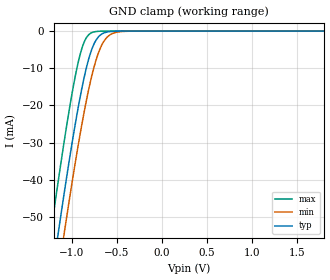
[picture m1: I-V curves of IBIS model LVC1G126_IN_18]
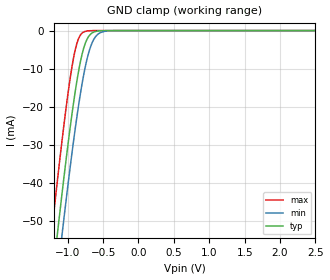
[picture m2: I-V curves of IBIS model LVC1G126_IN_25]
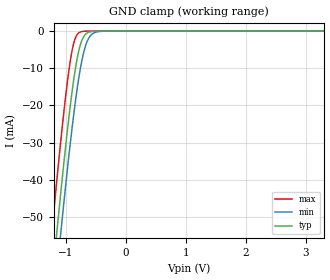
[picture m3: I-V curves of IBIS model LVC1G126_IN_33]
| TEXAS INSTRUMENTS INCORPORATED
| Standard Linear and Logic Group
| IBIS Model of SN74LVC1G126
| SINGLE BUS BUFFER GATE WITH 3-STATE OUTPUT
| This file contains package information for the following:
|  SOT 5-pin (DBV) package as [Component] LVC1G126_DBV
|  SOT 5-pin (DCK) package as [Component] LVC1G126_DCK
|  DSBGA 5-pin (YEA_YZA) package as [Component] LVC1G126_YEA_YZA
|  NanoStar WCSP 5-pin (YEP) package as [Component] LVC1G126_YEP
|  NanoFree WCSP 5-pin (YZP) package as [Component] LVC1G126_YZP
| This device can be powered at the following Vccs:
|  1.8 volt Vcc
|  2.5 volt Vcc
|  3.3 volt Vcc
|  5 volt Vcc
| This file provides unique models under the [Model Selector] for each Vcc.
| For operation at a specific Vcc, select the appropriate model after each
| [Model Selector] keyword.
[IBIS Ver]   3.2
[Comment char]  |_char
[File Name]   sn74lvc1g126.ibs
[File Rev]   1.1 | d_die
[Date]   March 10, 2004
[Source]   Data created from TI-SPICE simulations at TI-SLL.
[Notes]   The following is an IBIS list for the LVC1G126.
   Please contact sllibis@ti.com with questions and
   comments concerning SLL IBIS models.
   - FILE REV HISTORY
   - 1.1 Release IBIS file on 03/11/04
   -Non-monotonic data in pullup, pulldown due to
   over-voltage-tolerant circuit.
   -Power clamp data deleted as there is no power-clamp diode.
[Disclaimer] Property of Texas Instruments Incorporated.  Unauthorized
                reproduction and/or distribution is strictly prohibited.
                This product is protected under copyright law.
                Created  2004, (C) Copyright  2004, Texas Instruments
                Incorporated, All Rights Reserved
                UNLESS THERE IS A SIGNED, WRITTEN AGREEMENT TO THE
                CONTRARY, TEXAS INSTRUMENTS (TI) IS PROVIDING THE IBIS
                MODELS  AND WITHOUT ANY WARRANTY, EXPRESSED OR
                IMPLIED.  TI assumes no liability for:
                 1) the accuracy of the IBIS models provided to your
                    company;
                 2) the proper functioning of these IBIS Models in your
                    design or for any resulting applications; or
                 3) infringement of patents, copyrights or intellectual
                    property rights resulting from your use of these IBIS
                    models.
                TI provides IBIS Models as a service to our customers.
                You and your company shall not distribute, sell or give
                these models to anyone else without prior written
                permission from TI.
                TI reserves the right to make changes to our products or
                to discontinue any semiconductor product or service
                without notice, and advises our customers to obtain the
                latest version of relevant information to verify, before
                placing orders, that the information being relied on is
                current.
                Please be aware that your receipt and use of the IBIS
                information provided shall serve as acceptance of these
                terms and conditions.  If you do not accept these terms,
                you should return or destroy the IBIS models and any
                other accompanying information immediately.
| Component LVC1G126_DBV 5-pin SOT
[Component]   LVC1G126_DBV
[Manufacturer]   Texas Instruments, Inc.
[Package]
|   typ   min   max
R_pkg   2.500e-02   2.100e-02   2.900e-02
L_pkg   1.529e-09   1.312e-09   1.906e-09
C_pkg   1.560e-13   1.100e-13   2.400e-13
[Pin]   signal_name   model_name   R_pin   L_pin   C_pin
1   OE   LVC1G126_OE   2.100e-02   1.511e-09   1.440e-13
2   A   LVC1G126_IN   2.300e-02   1.312e-09   1.380e-13
3   GND   GND   2.900e-02   1.906e-09   2.400e-13
4   Y   LVC1G126_OUT   2.600e-02   1.541e-09   1.500e-13
5   VCC   POWER   2.500e-02   1.374e-09   1.100e-13
| Component LVC1G126_DCK 5-pin SOT
[Component]   LVC1G126_DCK
[Manufacturer]   Texas Instruments, Inc.
[Package]
|   typ   min   max
R_pkg   2.000e-02   1.700e-02   2.500e-02
L_pkg   9.980e-10   8.810e-10   1.069e-09
C_pkg   1.460e-13   1.180e-13   2.050e-13
[Pin]   signal_name   model_name   R_pin   L_pin   C_pin
1   OE   LVC1G126_OE   1.900e-02   1.069e-09   1.620e-13
2   A   LVC1G126_IN   1.800e-02   8.810e-10   1.210e-13
3   GND   GND   1.700e-02   1.031e-09   2.050e-13
4   Y   LVC1G126_OUT   2.000e-02   9.600e-10   1.240e-13
5   VCC   POWER   2.500e-02   1.049e-09   1.180e-13
| Component LVC1G126_YEA_YZA 5-pin DSBGA
[Component]   LVC1G126_YEA_YZA
[Manufacturer]   Texas Instruments, Inc.
[Package]
|   typ   min   max
R_pkg   1.000e-03   1.000e-03   1.000e-03
L_pkg   2.100e-11   2.100e-11   2.100e-11
C_pkg   4.600e-14   4.500e-14   4.700e-14
[Pin]   signal_name   model_name   R_pin   L_pin   C_pin
1   OE   LVC1G126_OE   1.000e-03   2.100e-11   4.600e-14
2   A   LVC1G126_IN   1.000e-03   2.100e-11   4.700e-14
3   GND   GND   1.000e-03   2.100e-11   4.600e-14
4   Y   LVC1G126_OUT   1.000e-03   2.100e-11   4.500e-14
5   VCC   POWER   1.000e-03   2.100e-11   4.500e-14
| Component LVC1G126_YEP 5-pin NanoStar WCSP
[Component]   LVC1G126_YEP
[Manufacturer]   Texas Instruments, Inc.
[Package]
|   typ   min   max
R_pkg   0.001   0.001   0.001
L_pkg   0.021nH   0.021nH   0.021nH
C_pkg   0.046pF   0.045pF   0.047pF
[Pin]   signal_name   model_name   R_pin   L_pin   C_pin
1   OE   LVC1G126_OE   0.001   0.021nH   0.046pF
2   A   LVC1G126_IN   0.001   0.021nH   0.047pF
3   GND   GND   0.001   0.021nH   0.046pF
4   Y   LVC1G126_OUT   0.001   0.021nH   0.045pF
5   VCC   POWER   0.001   0.021nH   0.045pF
| Component LVC1G126_YZP 5-pin NanoStar WCSP
[Component]   LVC1G126_YZP
[Manufacturer]   Texas Instruments, Inc.
[Package]
|   typ   min   max
R_pkg   0.001   0.001   0.001
L_pkg   0.021nH   0.021nH   0.021nH
C_pkg   0.046pF   0.045pF   0.047pF
[Pin]   signal_name   model_name   R_pin   L_pin   C_pin
1   OE   LVC1G126_OE   0.001   0.021nH   0.046pF
2   A   LVC1G126_IN   0.001   0.021nH   0.047pF
3   GND   GND   0.001   0.021nH   0.046pF
4   Y   LVC1G126_OUT   0.001   0.021nH   0.045pF
5   VCC   POWER   0.001   0.021nH   0.045pF
| Model LVC1G126_IN
[Model Selector]   LVC1G126_IN
LVC1G126_IN_18   1.8 volt Vcc
LVC1G126_IN_25   2.5 volt Vcc
LVC1G126_IN_33   3.3 volt Vcc
LVC1G126_IN_50   5 volt Vcc
| Model LVC1G126_OE
[Model Selector]   LVC1G126_OE
LVC1G126_OE_18   1.8 volt Vcc
LVC1G126_OE_25   2.5 volt Vcc
LVC1G126_OE_33   3.3 volt Vcc
LVC1G126_OE_50   5 volt Vcc
| Model LVC1G126_OUT
[Model Selector]   LVC1G126_OUT
LVC1G126_OUT_18   1.8 volt Vcc
LVC1G126_OUT_25   2.5 volt Vcc
LVC1G126_OUT_33   3.3 volt Vcc
LVC1G126_OUT_50   5 volt Vcc
| Models and submodels in the file (12): LVC1G126_IN_18 (Input), LVC1G126_IN_25 (Input), LVC1G126_IN_33 (Input), LVC1G126_IN_50 (Input), LVC1G126_OE_18 (Input), LVC1G126_OE_25 (Input), LVC1G126_OE_33 (Input), LVC1G126_OE_50 (Input), LVC1G126_OUT_18 (3-state), LVC1G126_OUT_25 (3-state), LVC1G126_OUT_33 (3-state), LVC1G126_OUT_50 (3-state)
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[Model]   LVC1G126_IN_18
Model_type  Input
Vinl=0.5775
Vinh=1.2675
| variable   typ   min   max
C_comp   1.11pF   0.92pF   1.31pF
[Temperature Range]   40   100   -40
| Ambient temperature   25   85   -40
[Voltage range]   1.8   1.65   1.95
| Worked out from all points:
|   GND clamp passes 1 mA (typ) near -0.68 V on its own axis
[GND Clamp]
| LVC1G126_IN_18
|   Voltage   I(typ)   I(min)   I(max)
-5.5V     -872.3mA   -880mA     -863mA
-1.235V   -68.47mA   -79.32mA   -54.53mA
-1.155V   -55.02mA   -65.9mA    -41.02mA
-1.09V    -44.44mA   -55.28mA   -30.51mA
-1.07V    -41.27mA   -52.08mA   -27.39mA
-955mV    -24.08mA   -34.45mA   -11.33mA
-865mV    -12.71mA   -22.05mA   -3.093mA
-745mV    -3.048mA   -8.978mA   -175.9uA
-670mV    -836.3uA   -3.901mA   -23.18uA
-590mV    -176.2uA   -1.257mA   -2.616uA
-340mV    -1.112uA   -19.62uA   -2.839nA
1.8V      1.111nA    59.61nA    3.29pA
[Model]   LVC1G126_IN_25
Model_type  Input
Vinl=0.7
Vinh=1.7
| variable   typ   min   max
C_comp   1.13pF   0.91pF   1.41pF
[Temperature Range]   40   100   -40
| Ambient temperature   25   85   -40
[Voltage range]   2.5   2.3   2.7
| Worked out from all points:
|   GND clamp passes 1 mA (typ) near -0.68 V on its own axis
[GND Clamp]
| LVC1G126_IN_25
|   Voltage   I(typ)   I(min)   I(max)
-5.5V     -872.3mA   -880mA     -863mA
-1.23V    -67.62mA   -78.47mA   -53.67mA
-1.155V   -55.02mA   -65.9mA    -41.02mA
-1.13V    -50.91mA   -61.78mA   -36.92mA
-1.085V   -43.65mA   -54.48mA   -29.72mA
-1.065V   -40.48mA   -51.28mA   -26.62mA
-950mV    -23.39mA   -33.72mA   -10.74mA
-860mV    -12.16mA   -21.41mA   -2.808mA
-785mV    -5.383mA   -12.75mA   -501uA
-715mV    -1.873mA   -6.62mA    -78.61uA
-575mV    -130.5uA   -995.5uA   -1.737uA
2.5V      1.112nA    59.61nA    4.652pA
[Model]   LVC1G126_IN_33
Model_type  Input
Vinl=0.8
Vinh=2.0
| variable   typ   min   max
C_comp   1.14pF   0.88pF   1.38pF
[Temperature Range]   40   100   -40
| Ambient temperature   25   85   -40
[Voltage range]   3.3   3   3.6
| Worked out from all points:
|   GND clamp passes 1 mA (typ) near -0.68 V on its own axis
[GND Clamp]
| LVC1G126_IN_33
|   Voltage   I(typ)   I(min)   I(max)
-5.5V     -872.3mA   -880mA     -863mA
-1.235V   -68.47mA   -79.32mA   -54.53mA
-1.155V   -55.02mA   -65.9mA    -41.02mA
-1.13V    -50.91mA   -61.78mA   -36.92mA
-1.085V   -43.65mA   -54.48mA   -29.72mA
-960mV    -24.78mA   -35.18mA   -11.94mA
-865mV    -12.71mA   -22.05mA   -3.093mA
-790mV    -5.74mA    -13.27mA   -568.9uA
-715mV    -1.873mA   -6.62mA    -78.61uA
-645mV    -520uA     -2.804mA   -11.73uA
-565mV    -106.8uA   -850.2uA   -1.322uA
3.3V      1.114nA    59.61nA    6.193pA
